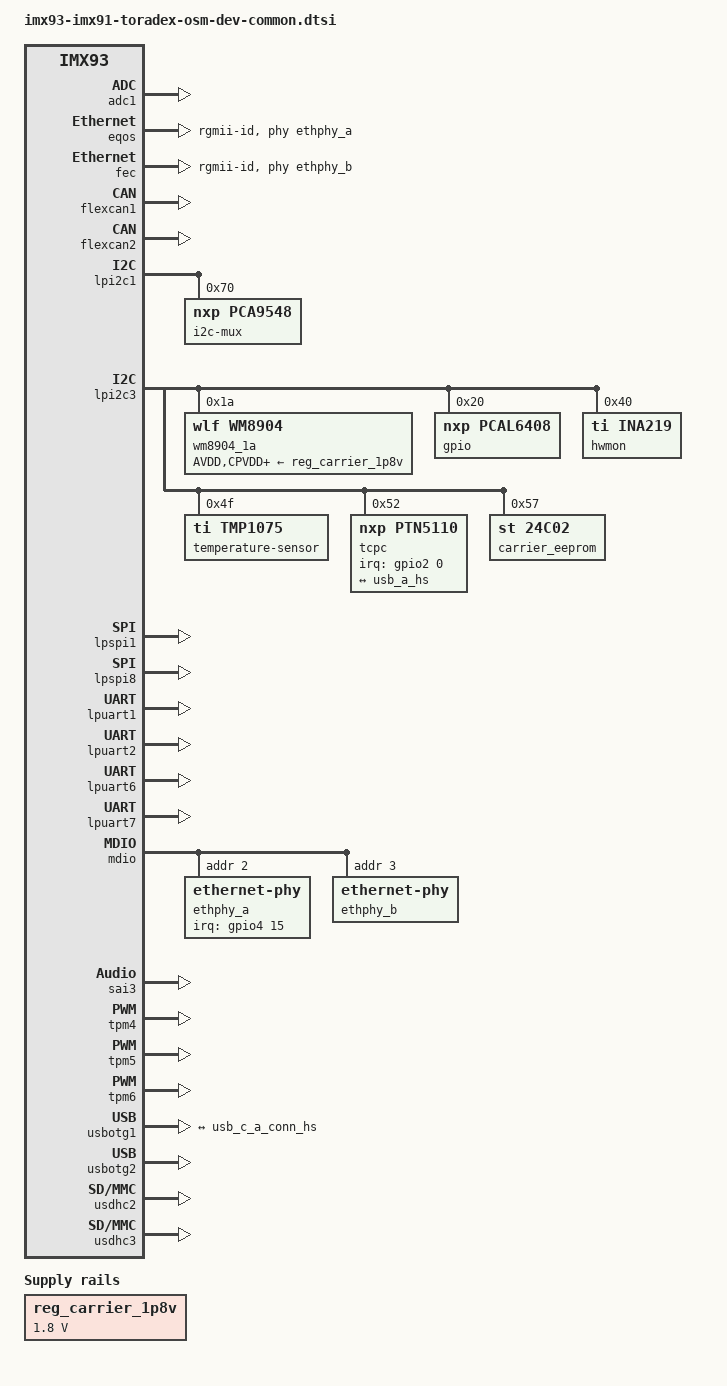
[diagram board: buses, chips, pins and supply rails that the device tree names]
// SPDX-License-Identifier: GPL-2.0-only OR MIT
/*
 * Copyright (c) Toradex
 *
 * Toradex OSM iMX93/iMX91 SoM on OSM Development carrier board
 *
 * https://www.toradex.com/computer-on-modules/osm-arm-family/nxp-imx93
 * https://www.toradex.com/computer-on-modules/osm-arm-family/nxp-imx91
 * https://www.toradex.com/products/carrier-board/osm-development-board
 */

#include <dt-bindings/interrupt-controller/irq.h>
#include <dt-bindings/net/ti-dp83867.h>
#include <dt-bindings/usb/pd.h>

/ {
	aliases {
		eeprom1 = &carrier_eeprom;
	};

	reg_carrier_1p8v: regulator-carrier-1p8v {
		compatible = "regulator-fixed";
		regulator-max-microvolt = <1800000>;
		regulator-min-microvolt = <1800000>;
		regulator-name = "On-carrier V1.8_SW";
	};

	sound {
		compatible = "simple-audio-card";
		simple-audio-card,bitclock-master = <&codec_dai>;
		simple-audio-card,format = "i2s";
		simple-audio-card,frame-master = <&codec_dai>;
		simple-audio-card,mclk-fs = <256>;
		simple-audio-card,name = "verdin-wm8904";
		simple-audio-card,routing =
			"Headphone Jack", "HPOUTL",
			"Headphone Jack", "HPOUTR",
			"IN2L", "Line In Jack",
			"IN2R", "Line In Jack",
			"Microphone Jack", "MICBIAS",
			"IN1L", "Microphone Jack";
		simple-audio-card,widgets =
			"Microphone", "Microphone Jack",
			"Headphone", "Headphone Jack",
			"Line", "Line In Jack";

		codec_dai: simple-audio-card,codec {
			sound-dai = <&wm8904_1a>;
		};

		simple-audio-card,cpu {
			sound-dai = <&sai3>;
		};
	};
};

/* OSM ADC_0, ADC_1 */
&adc1 {
	status = "okay";
};

/* OSM ETH_A */
&eqos {
	phy-handle = <&ethphy_a>;
	phy-mode = "rgmii-id";

	status = "okay";
};

/* OSM ETH_B */
&fec {
	phy-handle = <&ethphy_b>;
	phy-mode = "rgmii-id";

	status = "okay";
};

/* OSM CAN_A */
&flexcan1 {
	status = "okay";
};

/* OSM CAN_B */
&flexcan2 {
	status = "okay";
};

&gpio2 {
	pinctrl-names = "default";
	pinctrl-0 = <&pinctrl_gpio_a1>, <&pinctrl_gpio_a2>, <&pinctrl_gpio_a3>,
		    <&pinctrl_gpio_a4>, <&pinctrl_gpio_a5>;
};

&gpio4 {
	pinctrl-names = "default";
	pinctrl-0 = <&pinctrl_gpio_a6>;
};

/* OSM I2C_B */
&lpi2c1 {
	i2c-mux@70 {
		compatible = "nxp,pca9548";
		reg = <0x70>;
		#address-cells = <1>;
		#size-cells = <0>;

		i2c_csi: i2c@0 {
			reg = <0>;
			#address-cells = <1>;
			#size-cells = <0>;
		};

		i2c_lvds: i2c@1 {
			reg = <1>;
			#address-cells = <1>;
			#size-cells = <0>;
		};

		/* I2C on DSI connector pin #4 and #6 */
		i2c_dsi_1: i2c@2 {
			reg = <2>;
			#address-cells = <1>;
			#size-cells = <0>;
		};

		/* I2C on DSI connector pin #52 and #54 */
		i2c_dsi_2: i2c@3 {
			reg = <3>;
			#address-cells = <1>;
			#size-cells = <0>;
		};
	};
};

/* OSM I2C_A */
&lpi2c3 {
	status = "okay";

	wm8904_1a: audio-codec@1a {
		compatible = "wlf,wm8904";
		reg = <0x1a>;
		pinctrl-names = "default";
		pinctrl-0 = <&pinctrl_i2s_a_mclk>;
		clocks = <&clk IMX93_CLK_SAI3>;
		clock-names = "mclk";
		#sound-dai-cells = <0>;
		AVDD-supply = <&reg_carrier_1p8v>;
		CPVDD-supply = <&reg_carrier_1p8v>;
		DBVDD-supply = <&reg_carrier_1p8v>;
		DCVDD-supply = <&reg_carrier_1p8v>;
		MICVDD-supply = <&reg_carrier_1p8v>;
	};

	gpio@20 {
		compatible = "nxp,pcal6408";
		reg = <0x20>;
		#gpio-cells = <2>;
		gpio-controller;
		gpio-line-names =
			"PWR_CTRL_CAN_A", /* 0 */
			"PWR_CTRL_CAN_B",
			"PWR_CTRL_USB-HUB",
			"LVDS_MUX_CTRL",
			"USB_MUX_CTRL",
			"I2CA_IOEXP_P5",
			"I2CA_IOEXP_P6",
			"I2CA_IOEXP_P7";

		lvds_mux_ctrl: lvds-mux-ctrl-hog {
			gpio-hog;
			gpios = <3 GPIO_ACTIVE_HIGH>;
			line-name = "LVDS_MUX_CTRL";
			output-high;
		};

		usb_mux_ctrl: usb-mux-ctrl-hog {
			gpio-hog;
			gpios = <4 GPIO_ACTIVE_HIGH>;
			line-name = "USB_MUX_CTRL";
			output-low;
		};
	};

	hwmon@40 {
		compatible = "ti,ina219";
		reg = <0x40>;
		shunt-resistor = <10000>;
	};

	temperature-sensor@4f {
		compatible = "ti,tmp1075";
		reg = <0x4f>;
	};

	tcpc@52 {
		compatible = "nxp,ptn5110", "tcpci";
		reg = <0x52>;
		pinctrl-names = "default";
		pinctrl-0 = <&pinctrl_gpio_a0>;
		interrupt-parent = <&gpio2>;
		interrupts = <0 IRQ_TYPE_LEVEL_LOW>;

		connector {
			compatible = "usb-c-connector";
			label = "USB_A";
			data-role = "dual";
			power-role = "dual";
			try-power-role = "sink";
			self-powered;
			source-pdos = <PDO_FIXED(5000, 3000, PDO_FIXED_USB_COMM)>;
			sink-pdos = <PDO_FIXED(5000, 0, PDO_FIXED_USB_COMM)>;
			op-sink-microwatt = <0>;

			port {
				usb_c_a_conn_hs: endpoint {
					remote-endpoint = <&usb_a_hs>;
				};
			};
		};
	};

	carrier_eeprom: eeprom@57 {
		compatible = "st,24c02", "atmel,24c02";
		reg = <0x57>;
		pagesize = <16>;
	};
};

/* OSM SPI_B */
&lpspi1 {
	status = "okay";
};

/* OSM SPI_A */
&lpspi8 {
	status = "okay";
};

/* OSM UART_CON, used as the Linux Console */
&lpuart1 {
	status = "okay";
};

/* OSM UART_C */
&lpuart2 {
	status = "okay";
};

/* OSM UART_A */
&lpuart6 {
	status = "okay";
};

/* OSM UART_B */
&lpuart7 {
	status = "okay";
};

/* OSM ETH_MDIO */
&mdio {
	status = "okay";

	ethphy_a: ethernet-phy@2 {
		reg = <2>;
		pinctrl-names = "default";
		pinctrl-0 = <&pinctrl_gpio_a7>;
		interrupt-parent = <&gpio4>;
		interrupts = <15 IRQ_TYPE_LEVEL_LOW>;
		ti,rx-internal-delay = <DP83867_RGMIIDCTL_2_00_NS>;
		ti,tx-internal-delay = <DP83867_RGMIIDCTL_2_00_NS>;
	};

	ethphy_b: ethernet-phy@3 {
		reg = <3>;
		ti,rx-internal-delay = <DP83867_RGMIIDCTL_2_00_NS>;
		ti,tx-internal-delay = <DP83867_RGMIIDCTL_2_00_NS>;
	};
};

/* OSM I2S_A */
&sai3 {
	status = "okay";
};

/* OSM PWM_0 */
&tpm4 {
	status = "okay";
};

/* OSM PWM_1 */
&tpm5 {
	status = "okay";
};

/* OSM PWM_2 */
&tpm6 {
	status = "okay";
};

/* OSM USB_A */
&usbotg1 {
	status = "okay";

	port {
		usb_a_hs: endpoint {
			remote-endpoint = <&usb_c_a_conn_hs>;
		};
	};
};

/* OSM USB_B */
&usbotg2 {
	status = "okay";
};

/* OSM SDIO_A */
&usdhc2 {
	status = "okay";
};

/* OSM SDIO_B */
&usdhc3 {
	status = "okay";
};
